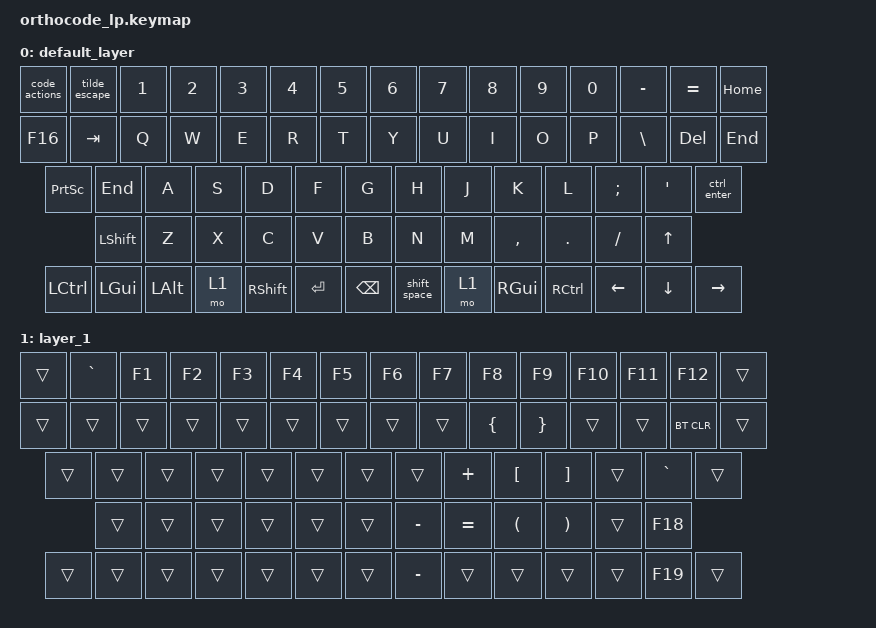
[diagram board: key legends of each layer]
#include <behaviors.dtsi>
#include <dt-bindings/zmk/keys.h>
#include <dt-bindings/zmk/bt.h>

/ {
  macros {
    ctrl_enter: ctrl_enter {
      label = "ctrl_enter";
      compatible = "zmk,behavior-macro";
      #binding-cells = <0>;
      bindings
        = <&macro_press &kp LEFT_CONTROL>
        , <&macro_tap &kp ENTER>
        , <&macro_release &kp LEFT_CONTROL>
        ;
    };
    code_actions: code_actions {
      label = "code_actions";
      compatible = "zmk,behavior-macro";
      #binding-cells = <0>;
      bindings
        = <&macro_press &kp LEFT_CONTROL>
        , <&macro_tap &kp DOT>
        , <&macro_release &kp LEFT_CONTROL>
        ;
    };
  };

  behaviors {
    shift_space: shift_space {
      compatible = "zmk,behavior-mod-morph";
      label = "SHIFT_SPACE";
      #binding-cells = <0>;
      bindings = <&kp SPACE>, <&kp UNDERSCORE>;
      mods = <(MOD_LSFT|MOD_RSFT)>;
    };
    tilde_escape: tilde_escape {
      compatible = "zmk,behavior-mod-morph";
      label = "TILDE_ESCAPE";
      #binding-cells = <0>;
      bindings = <&kp ESC>, <&kp TILDE>;
      mods = <(MOD_LSFT|MOD_RSFT)>;
    };
  };

  keymap {
    compatible = "zmk,keymap";

    default_layer {
      bindings = <
        &code_actions &tilde_escape &kp NUMBER_1 &kp NUMBER_2 &kp NUMBER_3 &kp NUMBER_4 &kp NUMBER_5 &kp NUMBER_6 &kp NUMBER_7 &kp NUMBER_8 &kp NUMBER_9 &kp NUMBER_0 &kp MINUS &kp EQUAL &kp HOME
        &kp F16 &kp TAB &kp Q &kp W &kp E &kp R &kp T &kp Y &kp U &kp I &kp O &kp P &kp BACKSLASH &kp DELETE &kp END
        &kp PRINTSCREEN &kp END &kp A &kp S &kp D &kp F &kp G &kp H &kp J &kp K &kp L &kp SEMICOLON &kp SINGLE_QUOTE &ctrl_enter
        &kp LEFT_SHIFT &kp Z &kp X &kp C &kp V &kp B &kp N &kp M &kp COMMA &kp DOT &kp SLASH &kp UP
        &kp LEFT_CONTROL &kp LGUI &kp LALT &mo 1 &kp RSHIFT &kp ENTER &kp BACKSPACE &shift_space &mo 1 &kp RGUI &kp RCTRL &kp LEFT &kp DOWN &kp RIGHT
      >;  
    };

    layer_1 {
      bindings = <
        &trans &kp GRAVE &kp F1 &kp F2 &kp F3 &kp F4 &kp F5 &kp F6 &kp F7 &kp F8 &kp F9 &kp F10 &kp F11 &kp F12 &trans
        &trans &trans &trans &trans &trans &trans &trans &trans &trans &kp LBRC &kp RBRC &trans &trans &bt BT_CLR &trans
        &trans &trans &trans &trans &trans &trans &trans &trans &kp PLUS &kp LBKT &kp RBKT &trans &kp GRAVE &trans
               &trans &trans &trans &trans &trans &trans &kp MINUS &kp EQUAL &kp LPAR &kp RPAR &trans &kp F18
               &trans &trans &trans &trans &trans &trans &trans &kp MINUS &trans &trans &trans &trans &kp F19 &trans
      >;
    };
  };
};
